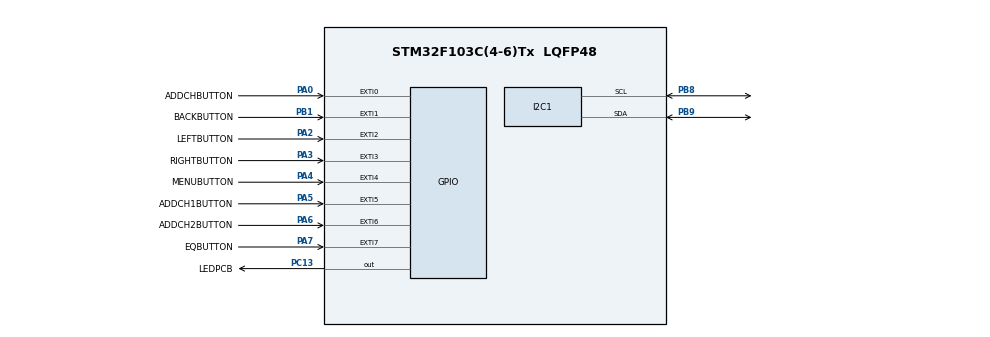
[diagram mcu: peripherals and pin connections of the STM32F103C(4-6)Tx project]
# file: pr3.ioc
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Mcu.Family=STM32F1
Mcu.Name=STM32F103C(4-6)Tx
Mcu.Package=LQFP48
NVIC.EXTI0_IRQn=true\:0\:0\:false\:false\:true\:true\:true\:true
NVIC.EXTI1_IRQn=true\:0\:0\:false\:false\:true\:true\:true\:true
NVIC.EXTI2_IRQn=true\:0\:0\:false\:false\:true\:true\:true\:true
NVIC.EXTI3_IRQn=true\:0\:0\:false\:false\:true\:true\:true\:true
NVIC.EXTI4_IRQn=true\:0\:0\:false\:false\:true\:true\:true\:true
NVIC.EXTI9_5_IRQn=true\:0\:0\:false\:false\:true\:true\:true\:true
NVIC.PriorityGroup=NVIC_PRIORITYGROUP_4
PA0-WKUP.GPIO_Label=ADDCHBUTTON
PA0-WKUP.Signal=GPXTI0
PA2.GPIO_Label=LEFTBUTTON
PA2.Signal=GPXTI2
PA3.GPIO_Label=RIGHTBUTTON
PA3.Signal=GPXTI3
PA4.GPIO_Label=MENUBUTTON
PA4.Signal=GPXTI4
PA5.GPIO_Label=ADDCH1BUTTON
PA5.Signal=GPXTI5
PA6.GPIO_Label=ADDCH2BUTTON
PA6.Signal=GPXTI6
PA7.GPIO_Label=EQBUTTON
PA7.Signal=GPXTI7
PB1.GPIO_Label=BACKBUTTON
PB1.Signal=GPXTI1
PB8.Mode=I2C
PB8.Signal=I2C1_SCL
PB9.Mode=I2C
PB9.Signal=I2C1_SDA
PC13-TAMPER-RTC.GPIO_Label=LEDPCB
PC13-TAMPER-RTC.GPIO_PuPd=GPIO_PULLDOWN
PC13-TAMPER-RTC.Signal=GPIO_Output
ProjectManager.HeapSize=0x200
ProjectManager.StackSize=0x400
ProjectManager.TargetToolchain=STM32CubeIDE
RCC.APB1Freq_Value=8000000
RCC.APB2Freq_Value=8000000
board=custom

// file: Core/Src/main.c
/* USER CODE BEGIN Header */
/**
  ******************************************************************************
  * @file           : main.c
  * @brief          : Main program body
  ******************************************************************************
  * @attention
  *
  * Copyright (c) 2024 STMicroelectronics.
  * All rights reserved.
  *
  * This software is licensed under terms that can be found in the LICENSE file
  * in the root directory of this software component.
  * If no LICENSE file comes with this software, it is provided AS-IS.
  *
  ******************************************************************************
  */
/* USER CODE END Header */
#include "main.h"

/* USER CODE BEGIN Includes */

#include "lcddisplay.h"

#include "gui.h"

//#include "calculator.h"
#include "calculator2.h"

/* USER CODE END Includes */

I2C_HandleTypeDef hi2c1;

void SystemClock_Config(void);
static void MX_GPIO_Init(void);
static void MX_I2C1_Init(void);

/* USER CODE BEGIN 0 */

#define LCDADDR (0x7C>>1)
#define BACKLIGHTADDR 0x6B

#define COMMAND 0x80
#define DATA 0x40

#define SCREENWIDTH 16
#define EXPRWIDTH 32

#define NUMOFPAGES 6

void LCDsend(uint8_t control, uint8_t value);
void LEDsend(uint8_t control, uint8_t value);
void LCDinit();
void LCDprint(uint8_t value);
void LCDposCursor(uint8_t row, uint8_t col);
void LCDclear();

void LCDsetDisplay(uint8_t value);
void LCDsetCursor(uint8_t value);
void LCDsetBlink(uint8_t value);
void LCDsetBacklight(uint8_t value);

uint8_t pages[NUMOFPAGES][3] = {{'0', '1', '2'}, {'3', '4', '5'}, {'6', '7', '8'}, {'9', '+', '-'}, {'*', '/', '('}, {')', 'a', 'b'}};

uint8_t page = 0;
uint8_t expression[EXPRWIDTH];
uint8_t cursor = 0;
uint8_t shift = 0;
uint8_t filled = 0;

uint8_t redraw = 0;
uint8_t redrawmenu = 0;

uint8_t buttonbeingpressed = 0;

/* USER CODE END 0 */

int main(void)
{

  /* MCU Configuration--------------------------------------------------------*/

  /* Reset of all peripherals, Initializes the Flash interface and the Systick. */
  HAL_Init();

  /* Configure the system clock */
  SystemClock_Config();

  /* Initialize all configured peripherals */
  MX_GPIO_Init();
  MX_I2C1_Init();
  /* USER CODE BEGIN 2 */
  //stm32f103c6t6a

  for(uint8_t i = 0; i < EXPRWIDTH; ++i)
	  expression[i] = ' ';

  /*expression[0] = 'a';
  expression[1] = 'b';*/
  cursor = 0;
  filled = 0;
  shift = 0;

  buttonbeingpressed = 0;

  LCDinit(&hi2c1);
  LCDwrite('s');
  LCDwrite('t');
  LCDsetCursorPos(0, 0);
  LCDsetCursor(1);
  LCDsetBlink(1);
  redraw = 1;
  redrawmenu = 1;

  uint32_t timerblink = 0;
  /* USER CODE END 2 */

  /* Infinite loop */
  /* USER CODE BEGIN WHILE */
  while (1)
  {
	if(HAL_GetTick()-timerblink > 1000) {
		HAL_GPIO_TogglePin(LEDPCB_GPIO_Port, LEDPCB_Pin);
		timerblink = HAL_GetTick();
	}
	if(redraw) {
		redraw = 0;
		drawExpression(expression, cursor, shift, filled, EXPRWIDTH, SCREENWIDTH);
	}
	if(redrawmenu) {
		redrawmenu = 0;
		drawMenu(page, SCREENWIDTH, pages, NUMOFPAGES, cursor-shift);
	}
    /* USER CODE END WHILE */

  }
}

void SystemClock_Config(void)
{
  RCC_OscInitTypeDef RCC_OscInitStruct = {0};
  RCC_ClkInitTypeDef RCC_ClkInitStruct = {0};

  /** Initializes the RCC Oscillators according to the specified parameters
  * in the RCC_OscInitTypeDef structure.
  */
  RCC_OscInitStruct.OscillatorType = RCC_OSCILLATORTYPE_HSI;
  RCC_OscInitStruct.HSIState = RCC_HSI_ON;
  RCC_OscInitStruct.HSICalibrationValue = RCC_HSICALIBRATION_DEFAULT;
  RCC_OscInitStruct.PLL.PLLState = RCC_PLL_NONE;
  if (HAL_RCC_OscConfig(&RCC_OscInitStruct) != HAL_OK)
  {
    Error_Handler();
  }

  /** Initializes the CPU, AHB and APB buses clocks
  */
  RCC_ClkInitStruct.ClockType = RCC_CLOCKTYPE_HCLK|RCC_CLOCKTYPE_SYSCLK
                              |RCC_CLOCKTYPE_PCLK1|RCC_CLOCKTYPE_PCLK2;
  RCC_ClkInitStruct.SYSCLKSource = RCC_SYSCLKSOURCE_HSI;
  RCC_ClkInitStruct.AHBCLKDivider = RCC_SYSCLK_DIV1;
  RCC_ClkInitStruct.APB1CLKDivider = RCC_HCLK_DIV1;
  RCC_ClkInitStruct.APB2CLKDivider = RCC_HCLK_DIV1;

  if (HAL_RCC_ClockConfig(&RCC_ClkInitStruct, FLASH_LATENCY_0) != HAL_OK)
  {
    Error_Handler();
  }
}

static void MX_I2C1_Init(void)
{

  hi2c1.Instance = I2C1;
  hi2c1.Init.ClockSpeed = 100000;
  hi2c1.Init.DutyCycle = I2C_DUTYCYCLE_2;
  hi2c1.Init.OwnAddress1 = 0;
  hi2c1.Init.AddressingMode = I2C_ADDRESSINGMODE_7BIT;
  hi2c1.Init.DualAddressMode = I2C_DUALADDRESS_DISABLE;
  hi2c1.Init.OwnAddress2 = 0;
  hi2c1.Init.GeneralCallMode = I2C_GENERALCALL_DISABLE;
  hi2c1.Init.NoStretchMode = I2C_NOSTRETCH_DISABLE;
  if (HAL_I2C_Init(&hi2c1) != HAL_OK)
  {
    Error_Handler();
  }

}

static void MX_GPIO_Init(void)
{
  GPIO_InitTypeDef GPIO_InitStruct = {0};

  /* GPIO Ports Clock Enable */
  __HAL_RCC_GPIOC_CLK_ENABLE();
  __HAL_RCC_GPIOA_CLK_ENABLE();
  __HAL_RCC_GPIOB_CLK_ENABLE();

  /*Configure GPIO pin Output Level */
  HAL_GPIO_WritePin(LEDPCB_GPIO_Port, LEDPCB_Pin, GPIO_PIN_RESET);

  /*Configure GPIO pin : LEDPCB_Pin */
  GPIO_InitStruct.Pin = LEDPCB_Pin;
  GPIO_InitStruct.Mode = GPIO_MODE_OUTPUT_PP;
  GPIO_InitStruct.Pull = GPIO_PULLDOWN;
  GPIO_InitStruct.Speed = GPIO_SPEED_FREQ_LOW;
  HAL_GPIO_Init(LEDPCB_GPIO_Port, &GPIO_InitStruct);

  /*Configure GPIO pins : ADDCHBUTTON_Pin LEFTBUTTON_Pin RIGHTBUTTON_Pin MENUBUTTON_Pin
                           ADDCH1BUTTON_Pin ADDCH2BUTTON_Pin EQBUTTON_Pin */
  GPIO_InitStruct.Pin = ADDCHBUTTON_Pin|LEFTBUTTON_Pin|RIGHTBUTTON_Pin|MENUBUTTON_Pin
                          |ADDCH1BUTTON_Pin|ADDCH2BUTTON_Pin|EQBUTTON_Pin;
  GPIO_InitStruct.Mode = GPIO_MODE_IT_RISING;
  GPIO_InitStruct.Pull = GPIO_NOPULL;
  HAL_GPIO_Init(GPIOA, &GPIO_InitStruct);

  /*Configure GPIO pin : BACKBUTTON_Pin */
  GPIO_InitStruct.Pin = BACKBUTTON_Pin;
  GPIO_InitStruct.Mode = GPIO_MODE_IT_RISING;
  GPIO_InitStruct.Pull = GPIO_NOPULL;
  HAL_GPIO_Init(BACKBUTTON_GPIO_Port, &GPIO_InitStruct);

  /* EXTI interrupt init*/
  HAL_NVIC_SetPriority(EXTI0_IRQn, 0, 0);
  HAL_NVIC_EnableIRQ(EXTI0_IRQn);

  HAL_NVIC_SetPriority(EXTI1_IRQn, 0, 0);
  HAL_NVIC_EnableIRQ(EXTI1_IRQn);

  HAL_NVIC_SetPriority(EXTI2_IRQn, 0, 0);
  HAL_NVIC_EnableIRQ(EXTI2_IRQn);

  HAL_NVIC_SetPriority(EXTI3_IRQn, 0, 0);
  HAL_NVIC_EnableIRQ(EXTI3_IRQn);

  HAL_NVIC_SetPriority(EXTI4_IRQn, 0, 0);
  HAL_NVIC_EnableIRQ(EXTI4_IRQn);

  HAL_NVIC_SetPriority(EXTI9_5_IRQn, 0, 0);
  HAL_NVIC_EnableIRQ(EXTI9_5_IRQn);

}

/* USER CODE BEGIN 4 */
void HAL_GPIO_EXTI_Callback(uint16_t GPIO_Pin)
{
	if(buttonbeingpressed)
		return;
	buttonbeingpressed=1;
	switch(GPIO_Pin) {
	case ADDCHBUTTON_Pin:
		HAL_GPIO_TogglePin(LEDPCB_GPIO_Port, LEDPCB_Pin);
    	addChar(expression, pages, page, 0, &cursor, &shift, &filled, EXPRWIDTH, SCREENWIDTH);
    	redraw = 1;
		break;
	case ADDCH1BUTTON_Pin:
		HAL_GPIO_TogglePin(LEDPCB_GPIO_Port, LEDPCB_Pin);
    	addChar(expression, pages, page, 1, &cursor, &shift, &filled, EXPRWIDTH, SCREENWIDTH);
    	redraw = 1;
		break;
	case ADDCH2BUTTON_Pin:
		HAL_GPIO_TogglePin(LEDPCB_GPIO_Port, LEDPCB_Pin);
    	addChar(expression, pages, page, 2, &cursor, &shift, &filled, EXPRWIDTH, SCREENWIDTH);
    	redraw = 1;
		break;
	case LEFTBUTTON_Pin:
		moveLeft(filled, &cursor, &shift);
		redraw = 1;
		break;
	case RIGHTBUTTON_Pin:
		moveRight(filled, &cursor, &shift, SCREENWIDTH);
		redraw = 1;
		break;
	case MENUBUTTON_Pin:
		nextPage(&page, NUMOFPAGES);
		redrawmenu = 1;
		break;
	case BACKBUTTON_Pin:
		redraw = 1;
		break;
	case EQBUTTON_Pin:
		computeEquation(expression, &filled, EXPRWIDTH);
		cursor=filled;
		shift=0;
		redraw = 1;
		break;
	}
	buttonbeingpressed=0;
}
/* USER CODE END 4 */

void Error_Handler(void)
{
  __disable_irq();
  while (1)
  {
  }
}
